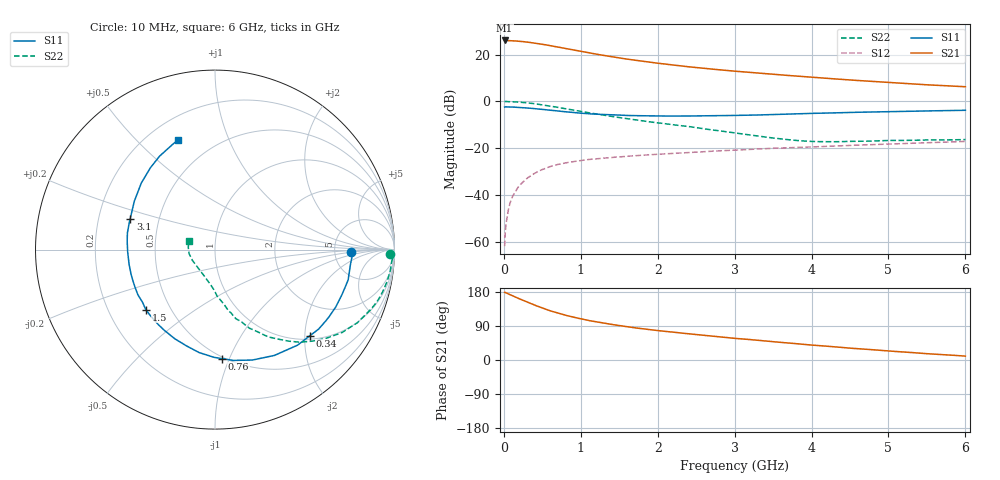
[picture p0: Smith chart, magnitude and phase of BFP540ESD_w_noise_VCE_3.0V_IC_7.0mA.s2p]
! Infineon Technologies  Discrete & RF Semiconductors
! BFP540ESD
! VCE =  3.0 V,  IC =  7.0 mA
! Common Emitter S-Parameters:  Nov 2015
# GHz  S  MA  R  50
!  f  S11  S21  S12  S22
! GHz  MAG  ANG  MAG  ANG  MAG  ANG  MAG  ANG
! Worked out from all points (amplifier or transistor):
!   210 points, 10 MHz to 6 GHz, reference 50 ohm
!   highest |S21| = 26.1 dB at 10 MHz (marker M1)
!   |S21| within 3 dB of that: start of sweep to 734 MHz
!   unconditionally stable (mu >= 1): 3.031 GHz to end of sweep
!   at 185 MHz: K = 0.05, MSG = 31.3 dB, |S12| = -36.8 dB
!   at 1.52 GHz: K = 0.60, MSG = 21.1 dB, |S12| = -23.7 dB
!   at 6 GHz: K = 1.18, MAG = 9.1 dB, |S12| = -17.1 dB
!   lowest NFmin = 0.76 dB at 900 MHz
!   S11 on the Smith chart (normalised r, x): 10 MHz: 7.18, -0.44; 340 MHz: 1.09, -2.13; 760 MHz: 0.49, -0.94; 1.5 GHz: 0.36, -0.33; 3.1 GHz: 0.34, +0.16; 6 GHz: 0.32, +0.67
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0.01  0.7562 -1.0  20.09 178.6  0.0008 84.7  0.9778 -1.3
0.025  0.7634 -3.5  20.02 177.6  0.0021 87.4  0.996 -1.8
0.06  0.7587 -7.6  19.86 174.3  0.0049 84.0  0.9862 -4.2
0.15  0.7513 -19.1  19.62 166.2  0.0117 83.3  0.975 -10.6
0.24  0.7377 -30.3  19.03 158.2  0.0183 78.2  0.9523 -16.9
0.3  0.7276 -37.5  18.61 153.0  0.0225 74.2  0.9312 -20.8
0.34  0.7144 -42.1  18.2 149.8  0.025 72.0  0.9141 -23.3
0.4  0.7036 -49.2  17.69 144.8  0.0289 69.4  0.8919 -27.2
0.5  0.6762 -60.7  16.73 137.0  0.0349 64.0  0.8447 -33.2
0.6  0.6496 -71.3  15.6 130.0  0.0402 60.2  0.7942 -38.4
0.76  0.6083 -86.4  13.96 120.7  0.047 55.0  0.7161 -45.8
0.9  0.5804 -98.8  12.6 113.1  0.0513 51.4  0.6523 -51.4
1.02  0.5558 -108.0  11.58 107.8  0.0549 48.7  0.6024 -55.5
1.2  0.533 -121.0  10.23 100.6  0.0592 45.3  0.5381 -60.9
1.5  0.5103 -139.1  8.494 90.7  0.0647 41.6  0.4511 -68.2
1.7  0.498 -149.6  7.619 85.0  0.0685 39.9  0.4039 -73.0
2.02  0.4874 -163.6  6.498 77.2  0.0742 37.7  0.3455 -77.9
2.58  0.4904 175.8  5.127 65.4  0.0833 35.0  0.2611 -87.1
3.1  0.503 159.9  4.295 55.6  0.0922 32.6  0.201 -96.2
4.1  0.5575 135.9  3.198 38.0  0.1076 27.1  0.1377 -136.9
5.1  0.6087 119.2  2.486 22.4  0.1237 21.4  0.1459 -173.6
6  0.645 108.7  2.056 10.3  0.1392 16.8  0.1525 161.9
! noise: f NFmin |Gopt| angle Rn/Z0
0.9  0.76  0.01  -71  0.11
1.8  0.97  0.09  177  0.11
2.4  0.98  0.11  174  0.1
3  1.11  0.19  -171  0.09
4  1.26  0.31  -120  0.15
5  1.48  0.43  -96  0.28
6  1.73  0.52  -98  0.43
